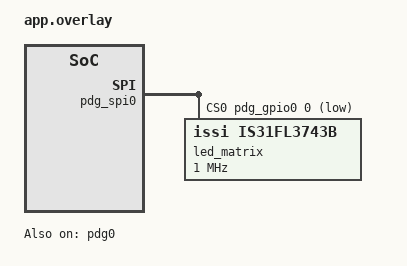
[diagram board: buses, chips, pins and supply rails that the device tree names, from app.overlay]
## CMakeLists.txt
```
# Copyright (c) 2026 Open Device Partnership and Contributors
# SPDX-License-Identifier: MIT

cmake_minimum_required(VERSION 3.20.0)

set(BOARD native_sim/native/64 CACHE STRING "Default board for Pico de Gallo samples")
set(SHIELD pico_de_gallo CACHE STRING "Default shield for Pico de Gallo samples")
get_filename_component(PDG_MODULE_ROOT "${CMAKE_CURRENT_LIST_DIR}/../../.." ABSOLUTE)
list(APPEND EXTRA_ZEPHYR_MODULES "${PDG_MODULE_ROOT}")

find_package(Zephyr REQUIRED HINTS $ENV{ZEPHYR_BASE})
project(pdg_spi_bridge)

target_sources(app PRIVATE src/main.c)
```

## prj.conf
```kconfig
CONFIG_SPI=y
CONFIG_LOG=y
CONFIG_LOG_MODE_IMMEDIATE=y
CONFIG_LED=y
```

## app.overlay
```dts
/*
 * Copyright (c) 2026 Open Device Partnership and Contributors
 *
 * SPDX-License-Identifier: MIT
 */

#include <zephyr/dt-bindings/gpio/gpio.h>

&pdg0 {
	status = "okay";

	/*
	 * REQUIRED: replace this placeholder with this board's serial from
	 * `gallo list`. SPI chip select actuates GPIO, so R11 forbids
	 * selector-less operation: with multiple boards attached, it could
	 * drive the wrong board's pins.
	 */
	serial-number = "REPLACE_WITH_YOUR_PICO_DE_GALLO_SERIAL";
};

&pdg_gpio0 {
	status = "okay";
};

&pdg_spi0 {
	status = "okay";

	/*
	 * Chip select on firmware user GPIO0 (RP2350 GPIO8, header pin 11).
	 * The cell is a firmware user GPIO index, not an RP2350 GPIO number
	 * and not a header pin number.
	 */
	cs-gpios = <&pdg_gpio0 0 GPIO_ACTIVE_LOW>;

	led_matrix: is31fl3743b@0 {
		compatible = "issi,is31fl3743b";
		reg = <0>;
		spi-max-frequency = <1000000>;
		current-limit = <90>;
		status = "okay";
	};
};
```

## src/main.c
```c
/*
 * Copyright (c) 2026 Open Device Partnership and Contributors
 *
 * SPDX-License-Identifier: MIT
 *
 * Small sample/test for the Pico de Gallo SPI controller. Runs a
 * IS31FL3743B LED matrix on the bridged SPI bus via the Zephyr LED API.
 */

#include <string.h>

#include <zephyr/kernel.h>
#include <zephyr/device.h>
#include <zephyr/drivers/led.h>

/* IS31FL3743B matrix is 11x18 */
#define NUM_LEDS (11 * 18)
#define CHANNELS_PER_PIXEL 3

static const uint8_t colors[][CHANNELS_PER_PIXEL] = {
	{ 255, 0, 0 },
	{ 0, 255, 0 },
	{ 0, 0, 255 },
	{ 255, 255, 0 },
	{ 0, 255, 255 },
	{ 255, 0, 255 },
};

static void fill_color(uint8_t *pwm, const uint8_t color[CHANNELS_PER_PIXEL], uint8_t level)
{
	for (size_t channel = 0; channel < NUM_LEDS; channel++) {
		pwm[channel] = (color[channel % CHANNELS_PER_PIXEL] * level) / 255;
	}
}

int main(void)
{
	const struct device *led_matrix = DEVICE_DT_GET(DT_NODELABEL(led_matrix));
	uint8_t pwm[NUM_LEDS];
	int ret;

	if (!device_is_ready(led_matrix)) {
		printk("IS31FL3743B not ready (Pico de Gallo bridge connected?)\n");
		return 0;
	}

	while (1) {
		for (size_t color = 0; color < ARRAY_SIZE(colors); color++) {
			/* Breathe each color up to full brightness and back down. */
			for (int level = 0; level <= 510; level++) {
				uint8_t brightness = level <= 255 ? level : 510 - level;

				fill_color(pwm, colors[color], brightness);
				ret = led_write_channels(led_matrix, 0, NUM_LEDS, pwm);
				if (ret < 0) {
					printk("led_write_channels failed: %d\n", ret);
				}

				k_sleep(K_MSEC(5));
			}
		}
	}

	return 0;
}
```
